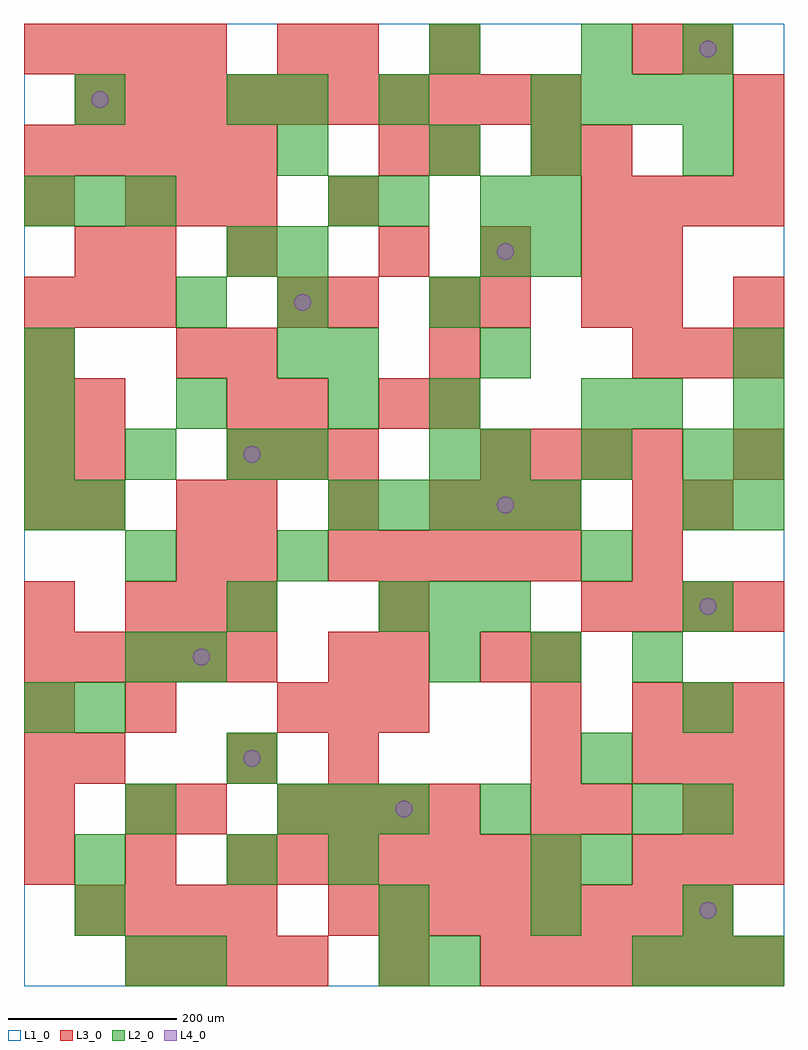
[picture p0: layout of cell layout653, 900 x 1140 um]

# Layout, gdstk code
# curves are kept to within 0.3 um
import gdstk
lib = gdstk.Library(unit=1e-6, precision=1e-09)
def R(c, l, rs):  # rectangles x0, y0, x1, y1
    for r in rs: c.add(gdstk.rectangle(r[:2], r[2:], *l))
def A(c, l, x, y, w, h, nx, ny, dx, dy):  # array of equal rectangles
    R(c, l, [(x+i*dx, y+j*dy, x+i*dx+w, y+j*dy+h) for i in range(nx) for j in range(ny)])
def P(c, l, *ps):  # polygons
    for p in ps: c.add(gdstk.Polygon(p, *l))
L1_0 = (1, 0)
L2_0 = (2, 0)
L3_0 = (3, 0)
L4_0 = (4, 0)

layout653 = lib.new_cell('layout653')
R(layout653, L1_0, [(0,0,900,1140)])
A(layout653, L2_0, 120, 0, 60, 60, 1, 3, 0, 180)
A(layout653, L2_0, 720, 0, 60, 60, 3, 1, 60, 0)
A(layout653, L2_0, 420, 60, 60, 60, 3, 1, 180, 0)
A(layout653, L2_0, 300, 180, 60, 60, 3, 1, 60, 0)
A(layout653, L2_0, 780, 180, 60, 60, 1, 4, 0, 120)
A(layout653, L2_0, 480, 360, 60, 60, 3, 1, 120, 0)
A(layout653, L2_0, 420, 420, 60, 60, 3, 1, 60, 0)
A(layout653, L2_0, 300, 480, 60, 60, 1, 3, 0, 120)
A(layout653, L2_0, 360, 540, 60, 60, 5, 1, 60, 0)
A(layout653, L2_0, 840, 540, 60, 60, 1, 4, 0, 60)
A(layout653, L2_0, 0, 600, 60, 60, 3, 1, 120, 0)
A(layout653, L2_0, 540, 600, 60, 60, 3, 1, 120, 0)
A(layout653, L2_0, 0, 660, 60, 60, 3, 1, 180, 0)
A(layout653, L2_0, 600, 840, 60, 60, 1, 3, 0, 60)
A(layout653, L2_0, 0, 900, 60, 60, 3, 1, 60, 0)
A(layout653, L2_0, 600, 1020, 60, 60, 4, 1, 60, 0)
R(layout653, L2_0, [(180,0,240,60), (420,0,480,60), (480,0,540,60), (60,60,120,120), (60,120,120,180), (240,120,300,180), (360,120,420,180), (600,120,660,180), (660,120,720,180), (540,180,600,240), (720,180,780,240), (240,240,300,300), (660,240,720,300), (0,300,60,360), (60,300,120,360), (180,360,240,420), (240,420,300,480), (120,480,180,540), (660,480,720,540), (0,540,60,600), (60,540,120,600), (480,600,540,660), (480,660,540,720), (660,660,720,720), (720,660,780,720), (0,720,60,780), (360,720,420,780), (540,720,600,780), (180,780,240,840), (300,780,360,840), (480,780,540,840), (240,840,300,900), (300,840,360,900), (540,840,600,900), (360,900,420,960), (420,900,480,960), (540,900,600,960), (300,960,360,1020), (480,960,540,1020), (780,960,840,1020), (60,1020,120,1080), (240,1020,300,1080), (300,1020,360,1080), (420,1020,480,1080), (480,1080,540,1140), (660,1080,720,1140), (780,1080,840,1140)])
A(layout653, L3_0, 120, 0, 60, 60, 4, 1, 60, 0)
A(layout653, L3_0, 540, 0, 60, 60, 6, 1, 60, 0)
A(layout653, L3_0, 60, 60, 60, 60, 4, 1, 60, 0)
A(layout653, L3_0, 360, 60, 60, 60, 8, 1, 60, 0)
A(layout653, L3_0, 0, 120, 60, 60, 3, 1, 120, 0)
A(layout653, L3_0, 300, 120, 60, 60, 6, 1, 60, 0)
A(layout653, L3_0, 720, 120, 60, 60, 3, 2, 60, 120)
A(layout653, L3_0, 0, 180, 60, 60, 1, 3, 0, 60)
A(layout653, L3_0, 300, 180, 60, 60, 4, 1, 60, 0)
A(layout653, L3_0, 600, 180, 60, 60, 1, 4, 0, 60)
A(layout653, L3_0, 300, 300, 60, 60, 3, 1, 60, 0)
A(layout653, L3_0, 720, 300, 60, 60, 3, 1, 60, 0)
A(layout653, L3_0, 0, 360, 60, 60, 5, 2, 60, 600)
A(layout653, L3_0, 120, 420, 60, 60, 3, 2, 60, 480)
A(layout653, L3_0, 660, 420, 60, 60, 4, 2, 60, 480)
A(layout653, L3_0, 240, 480, 60, 60, 1, 3, 0, 180)
A(layout653, L3_0, 360, 480, 60, 60, 5, 1, 60, 0)
A(layout653, L3_0, 0, 540, 60, 60, 1, 4, 0, 60)
A(layout653, L3_0, 60, 540, 60, 60, 1, 3, 0, 60)
A(layout653, L3_0, 240, 540, 60, 60, 3, 1, 120, 0)
A(layout653, L3_0, 240, 600, 60, 60, 3, 1, 60, 0)
A(layout653, L3_0, 540, 600, 60, 60, 4, 1, 60, 0)
A(layout653, L3_0, 240, 720, 60, 60, 3, 1, 240, 0)
A(layout653, L3_0, 0, 780, 60, 60, 3, 1, 60, 0)
A(layout653, L3_0, 420, 840, 60, 60, 3, 1, 120, 0)
A(layout653, L3_0, 60, 1020, 60, 60, 10, 1, 60, 0)
A(layout653, L3_0, 0, 1080, 60, 60, 4, 1, 60, 0)
R(layout653, L3_0, [(420,0,480,60), (120,180,180,240), (180,180,240,240), (660,180,720,240), (780,180,840,240), (840,180,900,240), (60,240,120,300), (240,240,300,300), (360,240,420,300), (120,300,180,360), (360,360,420,420), (420,360,480,420), (540,360,600,420), (0,420,60,480), (420,420,480,480), (180,480,240,540), (720,480,780,540), (180,540,240,600), (540,540,600,600), (600,540,660,600), (720,540,780,600), (780,540,840,600), (840,600,900,660), (300,660,360,720), (420,660,480,720), (480,660,540,720), (180,720,240,780), (780,720,840,780), (840,720,900,780), (300,780,360,840), (360,780,420,840), (480,780,540,840), (540,780,600,840), (660,780,720,840), (720,780,780,840), (840,780,900,840), (60,840,120,900), (120,840,180,900), (720,840,780,900), (0,900,60,960), (360,900,420,960), (420,960,480,1020), (480,960,540,1020), (600,960,660,1020), (660,960,720,1020), (840,960,900,1020), (840,1020,900,1080), (300,1080,360,1140), (360,1080,420,1140), (480,1080,540,1140), (720,1080,780,1140), (780,1080,840,1140)])
P(layout653, L4_0, [(100,1050),(99.239,1053.827),(97.071,1057.071),(93.827,1059.239),(90,1060),(86.173,1059.239),(82.929,1057.071),(80.761,1053.827),(80,1050),(80.761,1046.173),(82.929,1042.929),(86.173,1040.761),(90,1040),(93.827,1040.761),(97.071,1042.929),(99.239,1046.173)],
  [(220,390),(219.239,393.827),(217.071,397.071),(213.827,399.239),(210,400),(206.173,399.239),(202.929,397.071),(200.761,393.827),(200,390),(200.761,386.173),(202.929,382.929),(206.173,380.761),(210,380),(213.827,380.761),(217.071,382.929),(219.239,386.173)],
  [(280,270),(279.239,273.827),(277.071,277.071),(273.827,279.239),(270,280),(266.173,279.239),(262.929,277.071),(260.761,273.827),(260,270),(260.761,266.173),(262.929,262.929),(266.173,260.761),(270,260),(273.827,260.761),(277.071,262.929),(279.239,266.173)],
  [(280,630),(279.239,633.827),(277.071,637.071),(273.827,639.239),(270,640),(266.173,639.239),(262.929,637.071),(260.761,633.827),(260,630),(260.761,626.173),(262.929,622.929),(266.173,620.761),(270,620),(273.827,620.761),(277.071,622.929),(279.239,626.173)],
  [(340,810),(339.239,813.827),(337.071,817.071),(333.827,819.239),(330,820),(326.173,819.239),(322.929,817.071),(320.761,813.827),(320,810),(320.761,806.173),(322.929,802.929),(326.173,800.761),(330,800),(333.827,800.761),(337.071,802.929),(339.239,806.173)],
  [(460,210),(459.239,213.827),(457.071,217.071),(453.827,219.239),(450,220),(446.173,219.239),(442.929,217.071),(440.761,213.827),(440,210),(440.761,206.173),(442.929,202.929),(446.173,200.761),(450,200),(453.827,200.761),(457.071,202.929),(459.239,206.173)],
  [(580,570),(579.239,573.827),(577.071,577.071),(573.827,579.239),(570,580),(566.173,579.239),(562.929,577.071),(560.761,573.827),(560,570),(560.761,566.173),(562.929,562.929),(566.173,560.761),(570,560),(573.827,560.761),(577.071,562.929),(579.239,566.173)],
  [(580,870),(579.239,873.827),(577.071,877.071),(573.827,879.239),(570,880),(566.173,879.239),(562.929,877.071),(560.761,873.827),(560,870),(560.761,866.173),(562.929,862.929),(566.173,860.761),(570,860),(573.827,860.761),(577.071,862.929),(579.239,866.173)],
  [(820,90),(819.239,93.827),(817.071,97.071),(813.827,99.239),(810,100),(806.173,99.239),(802.929,97.071),(800.761,93.827),(800,90),(800.761,86.173),(802.929,82.929),(806.173,80.761),(810,80),(813.827,80.761),(817.071,82.929),(819.239,86.173)],
  [(820,450),(819.239,453.827),(817.071,457.071),(813.827,459.239),(810,460),(806.173,459.239),(802.929,457.071),(800.761,453.827),(800,450),(800.761,446.173),(802.929,442.929),(806.173,440.761),(810,440),(813.827,440.761),(817.071,442.929),(819.239,446.173)],
  [(820,1110),(819.239,1113.827),(817.071,1117.071),(813.827,1119.239),(810,1120),(806.173,1119.239),(802.929,1117.071),(800.761,1113.827),(800,1110),(800.761,1106.173),(802.929,1102.929),(806.173,1100.761),(810,1100),(813.827,1100.761),(817.071,1102.929),(819.239,1106.173)])

lib.write_gds('layout653.gds')
